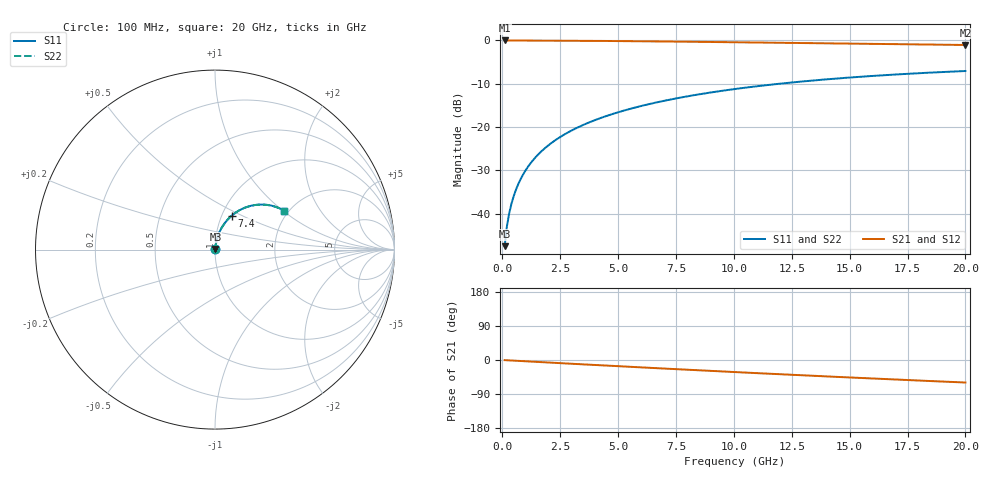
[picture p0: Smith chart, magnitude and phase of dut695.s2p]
! Touchstone file exported from HFSS 2026.1.0
!  File:  C:/ffzhzh/LocalFiles/Ansys_Project_Files/temp_train_BSMRDL_695_1783017797_55676.aedt
!  Generated:  02:44:50 AM Jul  3, 2026
!  Design:  BSMRDL
!  Project:  temp_train_BSMRDL_695_1783017797_55676
! Variables:
!  h_bsmrdl = 5.61um
!  h_ox = 20um
!  h_rdl = 5um
!  h_sub = 80um
!  h_tmrdl = 5um
!  h_tsv = 80um
!  h_via = 3um
!  l_bsmrdl = 956.87um
!  l_sub = 1356.87um
!  l_tmrdl = 200um
!  m_sub = 200um
!  pitch = 55.04um
!  r_tsv = 6um
!  s_tmrdl = 10um
!  w_bsmrdl = 26.61um
!  w_sub = 500um
!  w_tmrdl = 12um
!  x_tsv_center1 = 206um
!  x_tsv_center2 = 1189.48um
!  x_tsv_center3 = 1401.48um
!  x_tsv_center4 = 2384.96um
!  x_tsv_center5 = 2596.96um
!  x_tsv_center6 = 3580.44um
# GHz S MA R 50.000000
! Terminal data exported
! Port[1] = BSM_RDL1_1_T1
! Port[2] = BSM_RDL1_1_T2
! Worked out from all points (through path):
!   200 points, 100 MHz to 20 GHz, reference 50 ohm
!   highest |S21| = -0.02 dB at 100 MHz (marker M1); lowest = -1.1 dB at 20 GHz (marker M2)
!   group delay of S21, straight-line fit = 8.25 ps
!   lowest |S11| = -47.5 dB at 100 MHz (marker M3), VSWR 1.01, Z = 50.3 + j0.341 ohm
!   |S11| at or under -10 dB: start of sweep to 11.98 GHz
!   |S22| runs from -47.5 to -7.1 dB; largest |S21 - S12| = 3.4e-14
!   S11 on the Smith chart (normalised r, x): 100 MHz: 1.01, +0.01; 7.4 GHz: 1.11, +0.44; 20 GHz: 1.90, +1.02
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0.1  0.004228 53.5  0.9975 -0.4  0.9975 -0.4  0.004228 53.5
! Gamma 0 0 0 0
! Port Impedance 50 0 50 0
0.2  0.007173 67.0  0.9973 -0.7  0.9973 -0.7  0.007173 67.0
0.3  0.01017 72.4  0.9971 -1.0  0.9971 -1.0  0.01017 72.4
0.4  0.01317 75.4  0.9969 -1.4  0.9969 -1.4  0.01317 75.4
0.5  0.0162 77.2  0.9968 -1.7  0.9968 -1.7  0.0162 77.2
0.7  0.02229 79.3  0.9965 -2.4  0.9965 -2.4  0.02229 79.3
0.8  0.02535 79.8  0.9964 -2.7  0.9964 -2.7  0.02535 79.8
1  0.03147 80.3  0.9961 -3.4  0.9961 -3.4  0.03147 80.3
1.2  0.03759 80.5  0.9957 -4.0  0.9957 -4.0  0.03759 80.5
1.4  0.0437 80.3  0.9953 -4.7  0.9953 -4.7  0.0437 80.3
1.7  0.05282 79.9  0.9946 -5.7  0.9946 -5.7  0.05282 79.9
2  0.06187 79.3  0.9937 -6.7  0.9937 -6.7  0.06187 79.3
2.7  0.0827 77.5  0.9915 -9.0  0.9915 -9.0  0.0827 77.5
3.5  0.106 75.2  0.9884 -11.6  0.9884 -11.6  0.106 75.2
4.2  0.1259 73.2  0.9854 -13.8  0.9854 -13.8  0.1259 73.2
5  0.1481 70.8  0.9816 -16.3  0.9816 -16.3  0.1481 70.8
6.8  0.196 65.5  0.972 -22.0  0.972 -22.0  0.196 65.5
7.4  0.2114 63.7  0.9684 -23.8  0.9684 -23.8  0.2114 63.7
10.1  0.2759 55.9  0.9511 -32.0  0.9511 -32.0  0.2759 55.9
13.4  0.344 46.6  0.928 -41.6  0.928 -41.6  0.3441 46.6
16.7  0.3997 37.7  0.9052 -50.7  0.9052 -50.7  0.3997 37.7
20  0.4431 29.2  0.8848 -59.4  0.8848 -59.4  0.4431 29.1
